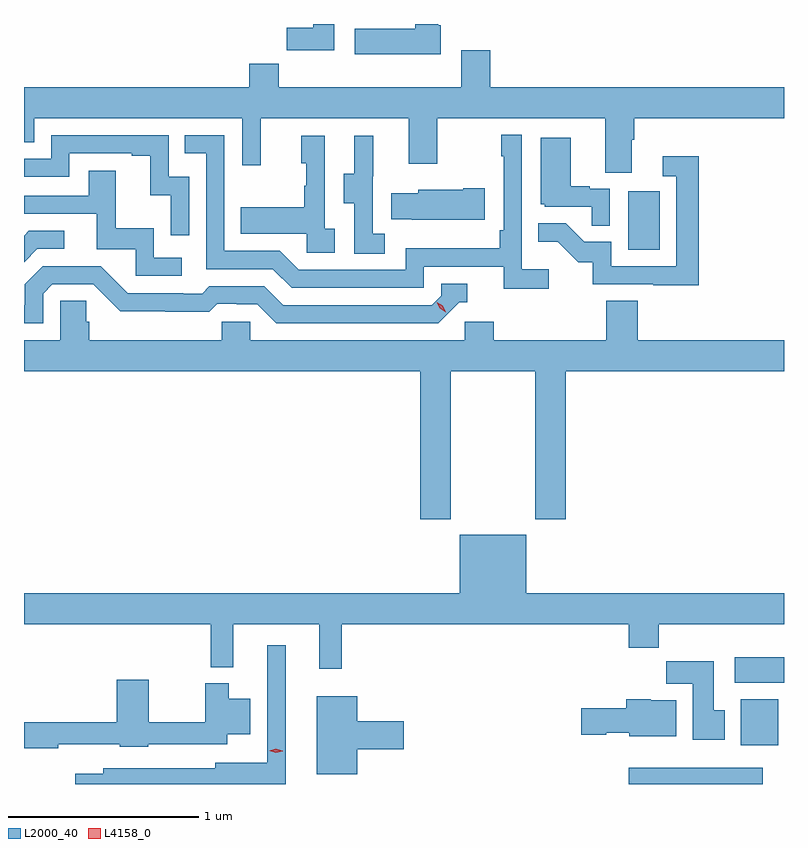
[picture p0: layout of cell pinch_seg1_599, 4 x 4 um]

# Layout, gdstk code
import gdstk
lib = gdstk.Library(unit=1e-6, precision=1e-09)
def R(c, l, rs):  # rectangles x0, y0, x1, y1
    for r in rs: c.add(gdstk.rectangle(r[:2], r[2:], *l))
def P(c, l, *ps):  # polygons
    for p in ps: c.add(gdstk.Polygon(p, *l))
L2000_40 = (2000, 40)
L4158_0 = (4158, 0)

pinch_seg1_599 = lib.new_cell('pinch_seg1_599')
R(pinch_seg1_599, L2000_40, [(1058.471,514.928,1059.175,515.014), (1059.059,515.132,1059.256,515.374), (1059.027,515.462,1059.287,515.596), (1058.468,517.74,1058.632,518.047)])
P(pinch_seg1_599, L2000_40, [(1057.48,518.922),(1057.468,518.922),(1057.468,518.928),(1057.346,518.928),(1057.346,518.902),(1057.029,518.902),(1057.029,518.768),(1057.48,518.768)],
  [(1056.919,518.928),(1056.809,518.928),(1056.809,518.908),(1056.67,518.908),(1056.67,518.79),(1056.919,518.79)],
  [(1058.485,518.32),(1058.498,518.32),(1058.498,518.432),(1059.287,518.432),(1059.287,518.596),(1057.742,518.596),(1057.742,518.791),(1057.589,518.791),(1057.589,518.596),(1056.629,518.596),(1056.629,518.72),(1056.473,518.72),(1056.473,518.596),(1055.287,518.596),(1055.287,518.305),(1055.34,518.305),(1055.34,518.432),(1056.435,518.432),(1056.435,518.184),(1056.533,518.184),(1056.533,518.432),(1057.313,518.432),(1057.313,518.193),(1057.461,518.193),(1057.461,518.432),(1058.345,518.432),(1058.345,518.146),(1058.485,518.146)],
  [(1058.05,517.636),(1057.908,517.636),(1057.908,518.344),(1057.8,518.344),(1057.8,518.231),(1057.812,518.231),(1057.812,517.843),(1057.792,517.843),(1057.792,517.747),(1057.296,517.747),(1057.296,517.635),(1056.732,517.635),(1056.633,517.734),(1056.342,517.734),(1056.342,518.343),(1056.133,518.343),(1056.133,518.247),(1056.246,518.247),(1056.246,517.638),(1056.596,517.638),(1056.695,517.539),(1057.392,517.539),(1057.392,517.65),(1057.811,517.65),(1057.811,517.534),(1058.05,517.534)],
  [(1056.156,518.124),(1056.048,518.124),(1056.048,518.343),(1055.43,518.343),(1055.43,518.22),(1055.287,518.22),(1055.287,518.124),(1055.526,518.124),(1055.526,518.247),(1055.855,518.247),(1055.855,518.235),(1055.951,518.235),(1055.951,518.027),(1056.06,518.027),(1056.06,517.815),(1056.156,517.815)],
  [(1057.186,517.823),(1057.122,517.823),(1057.122,518.127),(1057.124,518.127),(1057.124,518.341),(1057.025,518.341),(1057.025,518.139),(1056.971,518.139),(1056.971,517.984),(1057.026,517.984),(1057.026,517.72),(1057.186,517.72)],
  [(1056.922,517.85),(1056.87,517.85),(1056.87,518.341),(1056.746,518.341),(1056.746,518.196),(1056.772,518.196),(1056.772,518.078),(1056.762,518.078),(1056.762,517.963),(1056.427,517.963),(1056.427,517.823),(1056.774,517.823),(1056.774,517.725),(1056.922,517.725)],
  [(1058.37,518.061),(1058.264,518.061),(1058.264,518.074),(1058.164,518.074),(1058.164,518.329),(1058.006,518.329),(1058.006,517.98),(1058.028,517.98),(1058.028,517.965),(1058.275,517.965),(1058.275,517.867),(1058.37,517.867)],
  [(1058.837,518.233),(1058.649,518.233),(1058.649,518.127),(1058.721,518.127),(1058.721,517.653),(1058.379,517.653),(1058.379,517.782),(1058.235,517.782),(1058.137,517.88),(1057.993,517.88),(1057.993,517.781),(1058.097,517.781),(1058.204,517.674),(1058.281,517.674),(1058.281,517.557),(1058.599,517.557),(1058.599,517.552),(1058.837,517.552)],
  [(1056.118,517.698),(1055.97,517.698),(1055.97,517.852),(1055.771,517.852),(1055.771,518.155),(1055.627,518.155),(1055.627,518.025),(1055.287,518.025),(1055.287,517.929),(1055.669,517.929),(1055.669,517.743),(1055.874,517.743),(1055.874,517.602),(1056.118,517.602)],
  [(1057.711,518.064),(1057.598,518.064),(1057.598,518.056),(1057.362,518.056),(1057.362,518.038),(1057.219,518.038),(1057.219,517.901),(1057.327,517.901),(1057.327,517.898),(1057.711,517.898)],
  [(1055.358,517.746),(1055.5,517.746),(1055.5,517.839),(1055.312,517.839),(1055.287,517.814),(1055.287,517.675)],
  [(1055.388,517.509),(1055.436,517.557),(1055.652,517.557),(1055.794,517.415),(1056.03,517.415),(1056.03,517.413),(1056.263,517.413),(1056.305,517.455),(1056.408,517.455),(1056.408,517.452),(1056.515,517.452),(1056.614,517.353),(1057.467,517.353),(1057.578,517.464),(1057.621,517.464),(1057.621,517.56),(1057.482,517.56),(1057.482,517.497),(1057.434,517.449),(1056.651,517.449),(1056.552,517.548),(1056.263,517.548),(1056.224,517.509),(1056.125,517.509),(1056.125,517.512),(1055.832,517.512),(1055.691,517.653),(1055.385,517.653),(1055.291,517.559),(1055.291,517.449),(1055.287,517.449),(1055.287,517.353),(1055.388,517.353)],
  [(1057.533,517.1),(1057.978,517.1),(1057.978,516.321),(1058.138,516.321),(1058.138,517.1),(1059.287,517.1),(1059.287,517.264),(1058.516,517.264),(1058.516,517.472),(1058.351,517.472),(1058.351,517.264),(1057.76,517.264),(1057.76,517.362),(1057.608,517.362),(1057.608,517.264),(1056.477,517.264),(1056.477,517.362),(1056.327,517.362),(1056.327,517.264),(1055.63,517.264),(1055.63,517.362),(1055.615,517.362),(1055.615,517.472),(1055.478,517.472),(1055.478,517.264),(1055.287,517.264),(1055.287,517.1),(1057.373,517.1),(1057.373,516.321),(1057.533,516.321)],
  [(1055.287,515.768),(1056.271,515.768),(1056.271,515.543),(1056.389,515.543),(1056.389,515.768),(1056.842,515.768),(1056.842,515.535),(1056.959,515.535),(1056.959,515.768),(1058.471,515.768),(1058.471,515.644),(1058.627,515.644),(1058.627,515.768),(1059.287,515.768),(1059.287,515.932),(1057.93,515.932),(1057.93,516.241),(1057.58,516.241),(1057.58,515.932),(1055.287,515.932)],
  [(1056.664,515.659),(1056.567,515.659),(1056.567,515.041),(1056.293,515.041),(1056.293,515.01),(1055.705,515.01),(1055.705,514.981),(1055.556,514.981),(1055.556,514.928),(1056.664,514.928)],
  [(1058.974,515.316),(1058.917,515.316),(1058.917,515.575),(1058.668,515.575),(1058.668,515.456),(1058.807,515.456),(1058.807,515.16),(1058.974,515.16)],
  [(1055.468,515.136),(1055.79,515.136),(1055.79,515.123),(1055.94,515.123),(1055.94,515.136),(1056.358,515.136),(1056.358,515.189),(1056.478,515.189),(1056.478,515.377),(1056.364,515.377),(1056.364,515.458),(1056.242,515.458),(1056.242,515.252),(1055.944,515.252),(1055.944,515.476),(1055.774,515.476),(1055.774,515.252),(1055.287,515.252),(1055.287,515.116),(1055.468,515.116)],
  [(1057.042,515.111),(1057.285,515.111),(1057.285,515.258),(1057.042,515.258),(1057.042,515.389),(1056.827,515.389),(1056.827,514.979),(1057.042,514.979)],
  [(1058.719,515.368),(1058.586,515.368),(1058.586,515.374),(1058.456,515.374),(1058.456,515.328),(1058.22,515.328),(1058.22,515.186),(1058.352,515.186),(1058.352,515.198),(1058.472,515.198),(1058.472,515.18),(1058.719,515.18)])
P(pinch_seg1_599, L4158_0, [(1056.612,515.093),(1056.577,515.104),(1056.577,515.104),(1056.577,515.104),(1056.613,515.113),(1056.648,515.102),(1056.648,515.102),(1056.648,515.101)],
  [(1057.506,517.412),(1057.475,517.431),(1057.459,517.464),(1057.459,517.464),(1057.46,517.464),(1057.49,517.444),(1057.506,517.412),(1057.506,517.412)])

lib.write_gds('pinch_seg1_599.gds')
